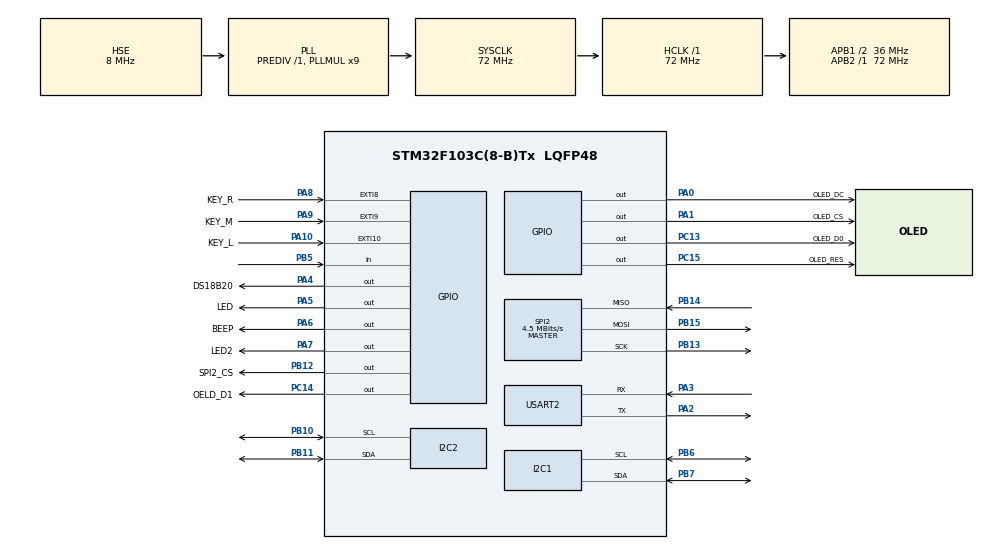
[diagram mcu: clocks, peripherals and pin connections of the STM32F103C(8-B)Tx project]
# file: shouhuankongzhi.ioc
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Mcu.Family=STM32F1
Mcu.Name=STM32F103C(8-B)Tx
Mcu.Package=LQFP48
NVIC.EXTI15_10_IRQn=true\:2\:0\:true\:false\:true\:true\:true\:true
NVIC.EXTI9_5_IRQn=true\:1\:0\:true\:false\:true\:true\:true\:true
NVIC.PriorityGroup=NVIC_PRIORITYGROUP_4
NVIC.TIM1_UP_IRQn=true\:0\:0\:true\:false\:true\:true\:true\:true
PA0-WKUP.GPIO_Label=OLED_DC
PA0-WKUP.GPIO_ModeDefaultOutputPP=GPIO_MODE_OUTPUT_PP
PA0-WKUP.GPIO_PuPd=GPIO_PULLUP
PA0-WKUP.GPIO_Speed=GPIO_SPEED_FREQ_HIGH
PA0-WKUP.PinState=GPIO_PIN_SET
PA0-WKUP.Signal=GPIO_Output
PA1.GPIO_Label=OLED_CS
PA1.GPIO_ModeDefaultOutputPP=GPIO_MODE_OUTPUT_PP
PA1.GPIO_PuPd=GPIO_PULLUP
PA1.GPIO_Speed=GPIO_SPEED_FREQ_HIGH
PA1.PinState=GPIO_PIN_SET
PA1.Signal=GPIO_Output
PA10.GPIO_Label=KEY_L
PA10.GPIO_ModeDefaultEXTI=GPIO_MODE_IT_FALLING
PA10.GPIO_PuPd=GPIO_PULLUP
PA10.Signal=GPXTI10
PA13.Mode=Serial_Wire
PA13.Signal=SYS_JTMS-SWDIO
PA14.Mode=Serial_Wire
PA14.Signal=SYS_JTCK-SWCLK
PA2.Mode=Asynchronous
PA2.Signal=USART2_TX
PA3.Mode=Asynchronous
PA3.Signal=USART2_RX
PA4.GPIO_Label=DS18B20
PA4.GPIO_Speed=GPIO_SPEED_FREQ_MEDIUM
PA4.PinState=GPIO_PIN_SET
PA4.Signal=GPIO_Output
PA5.GPIO_Label=LED
PA5.GPIO_ModeDefaultOutputPP=GPIO_MODE_OUTPUT_PP
PA5.GPIO_PuPd=GPIO_PULLUP
PA5.GPIO_Speed=GPIO_SPEED_FREQ_HIGH
PA5.PinState=GPIO_PIN_SET
PA5.Signal=GPIO_Output
PA6.GPIO_Label=BEEP
PA6.GPIO_ModeDefaultOutputPP=GPIO_MODE_OUTPUT_PP
PA6.GPIO_PuPd=GPIO_PULLUP
PA6.GPIO_Speed=GPIO_SPEED_FREQ_HIGH
PA6.PinState=GPIO_PIN_SET
PA6.Signal=GPIO_Output
PA7.GPIO_Label=LED2
PA7.GPIO_ModeDefaultOutputPP=GPIO_MODE_OUTPUT_PP
PA7.GPIO_PuPd=GPIO_PULLUP
PA7.GPIO_Speed=GPIO_SPEED_FREQ_HIGH
PA7.PinState=GPIO_PIN_SET
PA7.Signal=GPIO_Output
PA8.GPIO_Label=KEY_R
PA8.GPIO_ModeDefaultEXTI=GPIO_MODE_IT_FALLING
PA8.GPIO_PuPd=GPIO_PULLUP
PA8.Signal=GPXTI8
PA9.GPIO_Label=KEY_M
PA9.GPIO_ModeDefaultEXTI=GPIO_MODE_IT_FALLING
PA9.GPIO_PuPd=GPIO_PULLUP
PA9.Signal=GPXTI9
PB10.Mode=I2C
PB10.Signal=I2C2_SCL
PB11.Mode=I2C
PB11.Signal=I2C2_SDA
PB12.GPIO_Label=SPI2_CS
PB12.GPIO_ModeDefaultOutputPP=GPIO_MODE_OUTPUT_PP
PB12.GPIO_PuPd=GPIO_PULLUP
PB12.GPIO_Speed=GPIO_SPEED_FREQ_HIGH
PB12.PinState=GPIO_PIN_SET
PB12.Signal=GPIO_Output
PB13.Mode=Full_Duplex_Master
PB13.Signal=SPI2_SCK
PB14.Mode=Full_Duplex_Master
PB14.Signal=SPI2_MISO
PB15.Mode=Full_Duplex_Master
PB15.Signal=SPI2_MOSI
PB5.Signal=GPIO_Input
PB6.Mode=I2C
PB6.Signal=I2C1_SCL
PB7.Mode=I2C
PB7.Signal=I2C1_SDA
PC13-TAMPER-RTC.GPIO_Label=OLED_D0
PC13-TAMPER-RTC.GPIO_ModeDefaultOutputPP=GPIO_MODE_OUTPUT_PP
PC13-TAMPER-RTC.GPIO_PuPd=GPIO_PULLUP
PC13-TAMPER-RTC.GPIO_Speed=GPIO_SPEED_FREQ_HIGH
PC13-TAMPER-RTC.PinState=GPIO_PIN_SET
PC13-TAMPER-RTC.Signal=GPIO_Output
PC14-OSC32_IN.GPIO_Label=OELD_D1
PC14-OSC32_IN.GPIO_ModeDefaultOutputPP=GPIO_MODE_OUTPUT_PP
PC14-OSC32_IN.GPIO_PuPd=GPIO_PULLUP
PC14-OSC32_IN.GPIO_Speed=GPIO_SPEED_FREQ_HIGH
PC14-OSC32_IN.PinState=GPIO_PIN_SET
PC14-OSC32_IN.Signal=GPIO_Output
PC15-OSC32_OUT.GPIO_Label=OLED_RES
PC15-OSC32_OUT.GPIO_ModeDefaultOutputPP=GPIO_MODE_OUTPUT_PP
PC15-OSC32_OUT.GPIO_PuPd=GPIO_PULLUP
PC15-OSC32_OUT.GPIO_Speed=GPIO_SPEED_FREQ_HIGH
PC15-OSC32_OUT.PinState=GPIO_PIN_SET
PC15-OSC32_OUT.Signal=GPIO_Output
PD0-OSC_IN.Mode=HSE-External-Oscillator
PD0-OSC_IN.Signal=RCC_OSC_IN
PD1-OSC_OUT.Mode=HSE-External-Oscillator
PD1-OSC_OUT.Signal=RCC_OSC_OUT
ProjectManager.HeapSize=0x200
ProjectManager.StackSize=0x400
ProjectManager.TargetToolchain=MDK-ARM V5
RCC.AHBFreq_Value=72000000
RCC.APB1CLKDivider=RCC_HCLK_DIV2
RCC.APB1Freq_Value=36000000
RCC.APB1TimFreq_Value=72000000
RCC.APB2Freq_Value=72000000
RCC.APB2TimFreq_Value=72000000
RCC.HCLKFreq_Value=72000000
RCC.PLLMUL=RCC_PLL_MUL9
RCC.PLLSourceVirtual=RCC_PLLSOURCE_HSE
RCC.SYSCLKFreq_VALUE=72000000
RCC.SYSCLKSource=RCC_SYSCLKSOURCE_PLLCLK
RCC.USBFreq_Value=72000000
SPI2.BaudRatePrescaler=SPI_BAUDRATEPRESCALER_8
SPI2.CLKPhase=SPI_PHASE_2EDGE
SPI2.CLKPolarity=SPI_POLARITY_HIGH
SPI2.CalculateBaudRate=4.5 MBits/s
SPI2.Direction=SPI_DIRECTION_2LINES
SPI2.Mode=SPI_MODE_MASTER
SPI2.VirtualType=VM_MASTER
TIM1.AutoReloadPreload=TIM_AUTORELOAD_PRELOAD_ENABLE
TIM1.Period=9999
TIM1.Prescaler=7199
USART2.VirtualMode=VM_ASYNC
VP_TIM1_VS_ClockSourceINT.Mode=Internal
board=custom

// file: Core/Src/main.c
/* USER CODE BEGIN Header */
/**
  ******************************************************************************
  * @file           : main.c
  * @brief          : Main program body
  ******************************************************************************
  * @attention
  *
  * Copyright (c) 2025 STMicroelectronics.
  * All rights reserved.
  *
  * This software is licensed under terms that can be found in the LICENSE file
  * in the root directory of this software component.
  * If no LICENSE file comes with this software, it is provided AS-IS.
  *
  ******************************************************************************
  */
/* USER CODE END Header */
#include "main.h"
#include "i2c.h"
#include "spi.h"
#include "tim.h"
#include "usart.h"
#include "gpio.h"

/* USER CODE BEGIN Includes */
#include "oled.h"
#include "ds3231.h"
#include "string.h"
#include "max30102.h"
#include "adxl345.h"
#include "ds18b20.h"
/* USER CODE END Includes */

/* USER CODE BEGIN PTD */
uint8_t hr_bnd=150,bo_band=100;
uint8_t temp_band=30;
int step_count;
/* USER CODE END PTD */

/* USER CODE BEGIN PD */
void ui_setting(void);
/* USER CODE END PD */

void SystemClock_Config(void);

int main(void)
{

  /* USER CODE BEGIN 1 */
	Ds_time ds_time;
	char show_data[20];
	int32_t HR_Value,BO_Value;
	int8_t HR_Valid,BO_Valid;

	char uart_send[20];
	float num_d;
	ADXL345_Data accel_data;
	static int page_count=0;
  /* USER CODE END 1 */

  /* MCU Configuration--------------------------------------------------------*/

  /* Reset of all peripherals, Initializes the Flash interface and the Systick. */
  HAL_Init();

  /* Configure the system clock */
  SystemClock_Config();

  /* Initialize all configured peripherals */
  MX_GPIO_Init();
  MX_I2C2_Init();
  MX_I2C1_Init();
  MX_SPI2_Init();
  MX_USART2_UART_Init();
  MX_TIM1_Init();
  /* USER CODE BEGIN 2 */
	OLED_Init();
	OLED_ColorTurn(0);
  OLED_DisplayTurn(0);
	OLED_Clear();

	    //init MAX30102
		Max30102_Init();
	  Max30102_Safety();

		ADXL345_Init();

		// 初始化计步器
    StepCounter_Init(&step_counter);
		if(DS_Init()==0)
		{
		}
#if 0
	OLED_ShowString(0,16,(uint8_t*)"hello",16,1);
	OLED_Refresh();
#endif

  /* USER CODE END 2 */

  /* Infinite loop */
  while (1)
  {

    /* USER CODE BEGIN 3 */
			 if(timer1_up)
			{
				timer1_up = false;
				DS3231_GetTime(&ds_time);

				//OLED_ShowString(0,0,(uint8_t*)"time:",16,1);
				sprintf(show_data,"%d-%d-%d %d:%d:%d",ds_time.year,ds_time.month,ds_time.date,ds_time.hour,ds_time.min,ds_time.sec);
				OLED_ShowString(0,0,(uint8_t*)show_data,8,1);
				OLED_Refresh();

			}

			//显示等加速度
			ADXL345_ReadData(&accel_data);
			float x_g = ADXL345_ToGravity(accel_data.x, 1);
			float y_g = ADXL345_ToGravity(accel_data.y, 1);
			float z_g = ADXL345_ToGravity(accel_data.z, 1);
			sprintf(show_data,"x:%.1f y:%.1f z:%.1f",x_g,y_g,z_g);
			OLED_ShowString(0,40,(uint8_t*)show_data,8,1);
			OLED_Refresh();
				//OLED_Refresh();
				// 更新计步器

//				if(StepCounter_Update(&step_counter, x_g, y_g, z_g)) {
//			if(z_g>1.5)
//			{
//					// 检测到一步
//					sprintf(show_data,"Step count: %d",step_count);
//					OLED_ShowString(0,40,(uint8_t*)show_data,8,1);
//					OLED_Refresh();
//				}
				//	HAL_Delay(4);

//				//显示心率和血氧
				Max30102_Calculate_HR_BO_Value(&HR_Value,&HR_Valid,&BO_Value,&BO_Valid);
				if(HR_Valid==1 && BO_Valid==1)
				{
					OLED_ShowString(0,10,(uint8_t*)"HR:",8,1);
					OLED_ShowNum(20,10,HR_Value,3,8,1);

					OLED_ShowString(50,10,(uint8_t*)"BO:",8,1);
					OLED_ShowNum(60,10,BO_Value,3,8,1);
					OLED_Refresh();

					sprintf(uart_send,"HR:%03d BO:%03d",HR_Value,BO_Value);
					HAL_UART_Transmit(&huart2,(uint8_t*)uart_send,13,0xffff);

					if(HR_Value>hr_bnd||BO_Value>bo_band)
					{
							led1_control(true);
					}
					else
					{
						 led1_control(false);
					}
				}

				// HAL_UART_Transmit(&huart2,(uint8_t*)show_data,21,0xffff);

				//显示体温
				num_d = Get_DS_Temperature();
				oled_showFnum(1,30,num_d,8,1);
				OLED_Refresh();
				if(num_d>temp_band)
				{
						led2_control(true);
				}
				else
				{
						led2_control(false);
				}

		 if(button==ENSURE_BUTTON)
		 {
				 HAL_Delay(300);
			   button = UNPRESSED;
			   OLED_Clear();
			   ui_setting();

		 }
	 }
		 //HAL_Delay(500);
  /* USER CODE END 3 */
}

void SystemClock_Config(void)
{
  RCC_OscInitTypeDef RCC_OscInitStruct = {0};
  RCC_ClkInitTypeDef RCC_ClkInitStruct = {0};

  /** Initializes the RCC Oscillators according to the specified parameters
  * in the RCC_OscInitTypeDef structure.
  */
  RCC_OscInitStruct.OscillatorType = RCC_OSCILLATORTYPE_HSE;
  RCC_OscInitStruct.HSEState = RCC_HSE_ON;
  RCC_OscInitStruct.HSEPredivValue = RCC_HSE_PREDIV_DIV1;
  RCC_OscInitStruct.HSIState = RCC_HSI_ON;
  RCC_OscInitStruct.PLL.PLLState = RCC_PLL_ON;
  RCC_OscInitStruct.PLL.PLLSource = RCC_PLLSOURCE_HSE;
  RCC_OscInitStruct.PLL.PLLMUL = RCC_PLL_MUL9;
  if (HAL_RCC_OscConfig(&RCC_OscInitStruct) != HAL_OK)
  {
    Error_Handler();
  }

  /** Initializes the CPU, AHB and APB buses clocks
  */
  RCC_ClkInitStruct.ClockType = RCC_CLOCKTYPE_HCLK|RCC_CLOCKTYPE_SYSCLK
                              |RCC_CLOCKTYPE_PCLK1|RCC_CLOCKTYPE_PCLK2;
  RCC_ClkInitStruct.SYSCLKSource = RCC_SYSCLKSOURCE_PLLCLK;
  RCC_ClkInitStruct.AHBCLKDivider = RCC_SYSCLK_DIV1;
  RCC_ClkInitStruct.APB1CLKDivider = RCC_HCLK_DIV2;
  RCC_ClkInitStruct.APB2CLKDivider = RCC_HCLK_DIV1;

  if (HAL_RCC_ClockConfig(&RCC_ClkInitStruct, FLASH_LATENCY_2) != HAL_OK)
  {
    Error_Handler();
  }
}

/* USER CODE BEGIN 4 */
void ui_setting(void)
{
	  int position=0;
	  char show[30];
	  Ds_time ds_time;
	  DS3231_GetTime(&ds_time);
		OLED_ShowString(20,0,(uint8_t*)"Setting",8,1);
	  while(1)
		{
			sprintf(show,"20%02d",ds_time.year);
			OLED_ShowString(0,10,(uint8_t*)show,8,position==0?0:1);
			sprintf(show,"-%02d",ds_time.month);
			OLED_ShowString(25,10,(uint8_t*)show,8,position==1?0:1);
			sprintf(show,"-%02d",ds_time.date);
			OLED_ShowString(43,10,(uint8_t*)show,8,position==2?0:1);

			sprintf(show," %02d:",ds_time.hour);
			OLED_ShowString(67,10,(uint8_t*)show,8,position==3?0:1);
			sprintf(show,"%02d:",ds_time.min);
			OLED_ShowString(91,10,(uint8_t*)show,8,position==4?0:1);
			sprintf(show,"%02d",ds_time.sec);
			OLED_ShowString(109,10,(uint8_t*)show,8,position==5?0:1);

			sprintf(show,"HR:%03d ",hr_bnd);
			OLED_ShowString(0,20,(uint8_t*)show,8,position==6?0:1);
			sprintf(show,"BO:%03d",bo_band);
			OLED_ShowString(50,20,(uint8_t*)show,8,position==7?0:1);

			sprintf(show,"temp:%02d",temp_band);
			OLED_ShowString(0,30,(uint8_t*)show,8,position==8?0:1);

			OLED_ShowString(0,40,(uint8_t*)"BACK",8,position==9?0:1);
			OLED_Refresh();

			if(button==ENSURE_BUTTON)
		 {
				 HAL_Delay(300);
			   button = UNPRESSED;
			   position++;
			   if(position>9)
					 position=0;
		 }

		 if(button==DOWN_BUTTON)
		 {
			 	 HAL_Delay(300);
			   button = UNPRESSED;
			   switch(position)
				{
					case 0:
						ds_time.year--;
            if(ds_time.year<0)
						{
							 ds_time.year=99;
						}
						break;
					case 1:
						ds_time.month--;
            if(ds_time.month<1)
						{
							 ds_time.month=12;
						}
						break;
					case 2:
						ds_time.date--;
            if(ds_time.date<1)
						{
							 ds_time.date=31;
						}
						break;
					case 3:
						ds_time.hour--;
            if(ds_time.hour<0)
						{
							 ds_time.hour=23;
						}
						break;
					case 4:
						ds_time.min--;
            if(ds_time.min<0)
						{
							 ds_time.min=59;
						}
						break;
					case 5:
						ds_time.min--;
            if(ds_time.min<0)
						{
							 ds_time.min=59;
						}
						break;
					case 6:
						hr_bnd--;
            if(hr_bnd<30)
						{
							 hr_bnd=200;
						}
					break;
					case 7:
						bo_band--;
            if(bo_band<30)
						{
							 bo_band=200;
						}
					break;
					case 8:
						temp_band--;
            if(temp_band<10)
						{
							 temp_band=50;
						}
					break;
				}
		 }

		 if(button==UP_BUTTON)
		 {
			 	 HAL_Delay(300);
			   button = UNPRESSED;
			   switch(position)
				{
					case 0:
						ds_time.year++;
            if(ds_time.year>99)
						{
							 ds_time.year=0;
						}
						break;
					case 1:
						ds_time.month++;
            if(ds_time.month>12)
						{
							 ds_time.month=1;
						}
						break;
					case 2:
						ds_time.date++;
            if(ds_time.date>31)
						{
							 ds_time.date=1;
						}
						break;
					case 3:
						ds_time.hour++;
            if(ds_time.hour>23)
						{
							 ds_time.hour=0;
						}
						break;
					case 4:
						ds_time.min++;
            if(ds_time.min>59)
						{
							 ds_time.min=0;
						}
						break;
					case 5:
						ds_time.min++;
            if(ds_time.min>59)
						{
							 ds_time.min=0;
						}
						break;
					case 6:
						hr_bnd++;
            if(hr_bnd>200)
						{
							 hr_bnd=30;
						}
					break;
					case 7:
						bo_band++;
            if(bo_band>200)
						{
							 bo_band=30;
						}
					break;
					case 8:
						temp_band++;
            if(temp_band>50)
						{
							 temp_band=10;
						}
					break;
					case 9:
					OLED_Clear();
					DS3231_WriteTime(&ds_time);
					return;
					break;
				}
		 }

		}
}
/* USER CODE END 4 */

void Error_Handler(void)
{
  __disable_irq();
  while (1)
  {
  }
}
